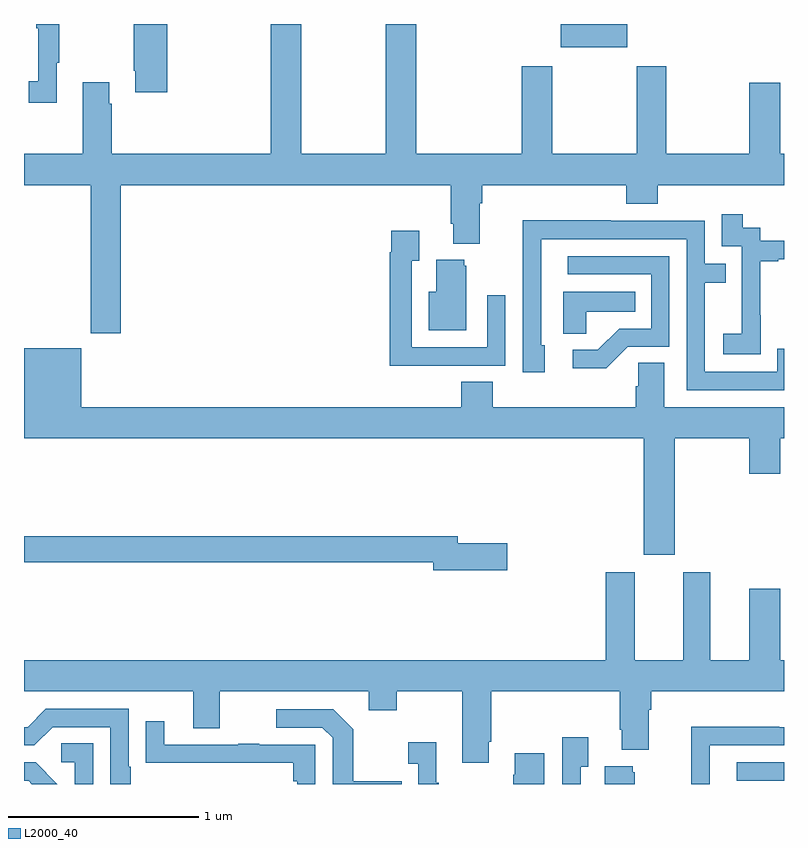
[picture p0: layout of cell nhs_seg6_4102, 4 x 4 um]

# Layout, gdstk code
import gdstk
lib = gdstk.Library(unit=1e-6, precision=1e-09)
def R(c, l, rs):  # rectangles x0, y0, x1, y1
    for r in rs: c.add(gdstk.rectangle(r[:2], r[2:], *l))
def P(c, l, *ps):  # polygons
    for p in ps: c.add(gdstk.Polygon(p, *l))
L2000_40 = (2000, 40)

nhs_seg6_4102 = lib.new_cell('nhs_seg6_4102')
R(nhs_seg6_4102, L2000_40, [(356.751,961.518,357,961.614), (355.826,965.378,356.176,965.5)])
P(nhs_seg6_4102, L2000_40, [(353.173,965.297),(353.185,965.297),(353.185,965.5),(353.064,965.5),(353.064,965.477),(353.076,965.477),(353.076,965.198),(353.025,965.198),(353.025,965.085),(353.173,965.085)],
  [(353.51,964.652),(355.247,964.652),(355.247,964.45),(355.259,964.45),(355.259,964.343),(355.399,964.343),(355.399,964.556),(355.412,964.556),(355.412,964.652),(356.171,964.652),(356.171,964.553),(356.336,964.553),(356.336,964.652),(357,964.652),(357,964.816),(356.98,964.816),(356.98,965.191),(356.816,965.191),(356.816,964.816),(356.379,964.816),(356.379,965.278),(356.224,965.278),(356.224,964.816),(355.779,964.816),(355.779,965.278),(355.619,965.278),(355.619,964.816),(355.064,964.816),(355.064,965.5),(354.904,965.5),(354.904,964.816),(354.459,964.816),(354.459,965.5),(354.299,965.5),(354.299,964.816),(353.462,964.816),(353.462,965.081),(353.449,965.081),(353.449,965.194),(353.309,965.194),(353.309,964.816),(353,964.816),(353,964.652),(353.35,964.652),(353.35,963.873),(353.51,963.873)],
  [(353.753,965.5),(353.578,965.5),(353.578,965.254),(353.585,965.254),(353.585,965.142),(353.753,965.142)],
  [(356.877,963.967),(356.876,963.967),(356.876,964.251),(356.971,964.251),(356.971,964.263),(357,964.263),(357,964.359),(356.874,964.359),(356.874,964.428),(356.782,964.428),(356.782,964.498),(356.673,964.498),(356.673,964.329),(356.778,964.329),(356.778,964.1),(356.777,964.1),(356.777,963.871),(356.679,963.871),(356.679,963.761),(356.877,963.761)],
  [(357,963.792),(356.964,963.792),(356.964,963.669),(356.583,963.669),(356.583,964.138),(356.693,964.138),(356.693,964.239),(356.583,964.239),(356.583,964.464),(356.087,964.464),(356.087,964.466),(355.624,964.466),(355.624,964.159),(355.626,964.159),(355.626,963.666),(355.741,963.666),(355.741,963.81),(355.722,963.81),(355.722,964.368),(356.487,964.368),(356.487,963.573),(357,963.573)],
  [(355.217,963.702),(355.533,963.702),(355.533,964.072),(355.437,964.072),(355.437,963.798),(355.041,963.798),(355.041,964.255),(355.081,964.255),(355.081,964.411),(354.933,964.411),(354.933,964.298),(354.925,964.298),(354.925,963.701),(355.217,963.701)],
  [(356.178,963.801),(356.397,963.801),(356.397,964.278),(355.863,964.278),(355.863,964.182),(356.301,964.182),(356.301,963.897),(356.132,963.897),(356.021,963.786),(355.887,963.786),(355.887,963.689),(356.065,963.689)],
  [(355.327,964.227),(355.316,964.227),(355.316,964.258),(355.169,964.258),(355.169,964.09),(355.13,964.09),(355.13,963.887),(355.327,963.887)],
  [(355.959,963.986),(356.216,963.986),(356.216,964.09),(355.838,964.09),(355.838,963.871),(355.959,963.871)],
  [(356.425,963.32),(356.816,963.32),(356.816,963.132),(356.98,963.132),(356.98,963.32),(357,963.32),(357,963.484),(356.371,963.484),(356.371,963.716),(356.232,963.716),(356.232,963.593),(356.219,963.593),(356.219,963.484),(355.466,963.484),(355.466,963.617),(355.301,963.617),(355.301,963.484),(353.302,963.484),(353.302,963.793),(353,963.793),(353,963.32),(356.261,963.32),(356.261,962.706),(356.425,962.706)],
  [(355.543,962.768),(355.282,962.768),(355.282,962.804),(353,962.804),(353,962.668),(355.154,962.668),(355.154,962.626),(355.543,962.626)],
  [(353,961.988),(353.891,961.988),(353.891,961.794),(354.031,961.794),(354.031,961.988),(354.815,961.988),(354.815,961.889),(354.963,961.889),(354.963,961.988),(355.307,961.988),(355.307,961.611),(355.447,961.611),(355.447,961.723),(355.46,961.723),(355.46,961.988),(356.135,961.988),(356.135,961.786),(356.147,961.786),(356.147,961.679),(356.287,961.679),(356.287,961.892),(356.3,961.892),(356.3,961.988),(357,961.988),(357,962.152),(356.98,962.152),(356.98,962.527),(356.816,962.527),(356.816,962.152),(356.611,962.152),(356.611,962.614),(356.471,962.614),(356.471,962.152),(356.215,962.152),(356.215,962.614),(356.063,962.614),(356.063,962.152),(353,962.152)],
  [(353.563,961.591),(353.55,961.591),(353.55,961.896),(353.115,961.896),(353.019,961.8),(353,961.8),(353,961.704),(353.055,961.704),(353.151,961.8),(353.454,961.8),(353.454,961.5),(353.563,961.5)],
  [(354.989,961.515),(354.733,961.515),(354.733,961.787),(354.627,961.893),(354.327,961.893),(354.327,961.797),(354.57,961.797),(354.624,961.743),(354.624,961.5),(354.989,961.5)],
  [(354.534,961.707),(354.239,961.707),(354.239,961.712),(354.127,961.712),(354.127,961.707),(353.737,961.707),(353.737,961.831),(353.641,961.831),(353.641,961.612),(353.743,961.612),(353.743,961.611),(354.418,961.611),(354.418,961.514),(354.438,961.514),(354.438,961.5),(354.534,961.5)],
  [(356.61,961.704),(357,961.704),(357,961.8),(356.975,961.8),(356.975,961.802),(356.512,961.802),(356.512,961.5),(356.61,961.5)],
  [(355.929,961.591),(355.969,961.591),(355.969,961.747),(355.833,961.747),(355.833,961.5),(355.929,961.5)],
  [(355.183,961.507),(355.171,961.507),(355.171,961.72),(355.023,961.72),(355.023,961.607),(355.074,961.607),(355.074,961.5),(355.183,961.5)],
  [(353.364,961.715),(353.196,961.715),(353.196,961.614),(353.268,961.614),(353.268,961.5),(353.364,961.5)],
  [(355.738,961.663),(355.583,961.663),(355.583,961.55),(355.576,961.55),(355.576,961.5),(355.738,961.5)],
  [(353.062,961.614),(353,961.614),(353,961.518),(353.024,961.518),(353.042,961.5),(353.176,961.5)],
  [(356.215,961.563),(356.204,961.563),(356.204,961.594),(356.057,961.594),(356.057,961.5),(356.215,961.5)])

lib.write_gds('nhs_seg6_4102.gds')
